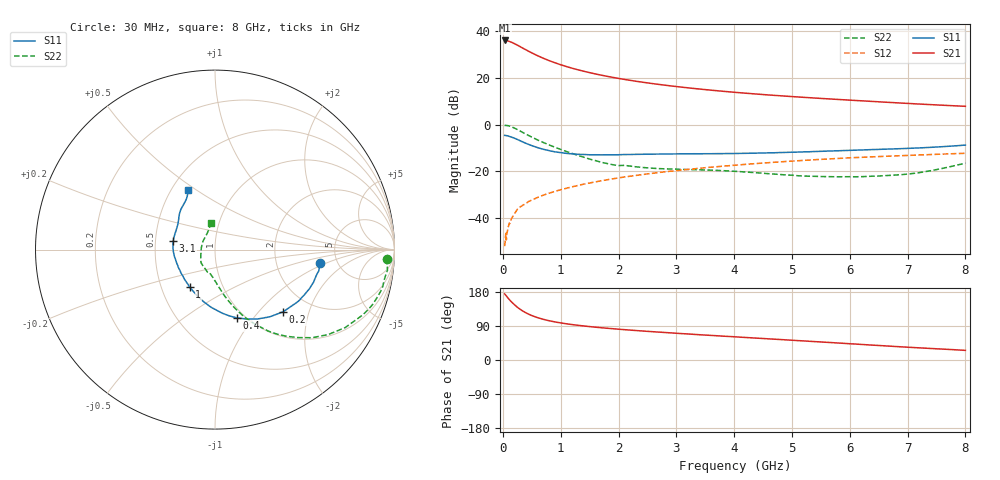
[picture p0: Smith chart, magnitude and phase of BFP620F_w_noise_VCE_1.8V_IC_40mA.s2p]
! Infineon Technologies  Discrete & RF Semiconductors
! BFP620F
! VCE =  1.8 V,  IC =  40 mA
! Common Emitter S-Parameters:  Dec 2014
# GHz  S  MA  R  50
!  f  S11  S21  S12  S22
! GHz  MAG  ANG  MAG  ANG  MAG  ANG  MAG  ANG
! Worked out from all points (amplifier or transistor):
!   95 points, 30 MHz to 8 GHz, reference 50 ohm
!   highest |S21| = 36.1 dB at 30 MHz (marker M1)
!   |S21| within 3 dB of that: start of sweep to 324.1 MHz
!   unconditionally stable (mu >= 1): 2.173 GHz to end of sweep
!   at 300 MHz: K = 0.44, MSG = 34.3 dB, |S12| = -35.2 dB
!   at 3.3 GHz: K = 1.03, MAG = 16.2 dB, |S12| = -18.9 dB
!   at 8 GHz: K = 1.05, MAG = 8.6 dB, |S12| = -12.2 dB
!   lowest NFmin = 1.36 dB at 450 MHz
!   S11 on the Smith chart (normalised r, x): 30 MHz: 3.69, -0.81; 200 MHz: 1.46, -1.37; 400 MHz: 0.92, -0.83; 1 GHz: 0.70, -0.31; 3.1 GHz: 0.62, +0.06; 8 GHz: 0.60, +0.46
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0.03  0.5902 -7.0  63.78 174.6  0.0025 89.0  0.9578 -3.0
0.07  0.5802 -16.0  63.04 167.1  0.0048 74.6  0.9574 -10.5
0.11  0.5626 -24.8  60.85 159.8  0.0078 83.6  0.9368 -17.6
0.15  0.5425 -32.9  58.3 153.3  0.0098 79.5  0.9007 -23.8
0.2  0.5139 -42.4  54.48 145.9  0.0123 74.6  0.8457 -30.9
0.25  0.4829 -50.9  50.68 139.2  0.0154 73.7  0.7884 -36.9
0.3  0.4527 -58.7  46.93 133.6  0.0173 70.5  0.7309 -42.2
0.35  0.4241 -65.8  43.31 128.7  0.019 69.0  0.6761 -46.5
0.4  0.3986 -72.5  40.13 124.3  0.0206 67.9  0.6258 -50.5
0.5  0.3562 -83.6  34.55 117.3  0.0242 66.9  0.5427 -56.8
0.6  0.3227 -93.7  30.07 111.7  0.0277 67.2  0.4719 -61.8
0.7  0.2971 -102.3  26.51 107.3  0.031 66.4  0.4156 -66.0
0.8  0.2784 -110.2  23.59 103.6  0.0341 66.8  0.3685 -69.4
1  0.2525 -123.9  19.26 97.9  0.0404 67.2  0.2958 -75.2
1.4  0.2303 -145.3  13.96 89.8  0.0533 66.4  0.2011 -85.4
2  0.2273 -167.5  9.818 81.3  0.0725 64.7  0.1331 -103.5
2.7  0.2348 175.7  7.292 73.6  0.0946 61.2  0.1147 -122.3
3.1  0.2378 168.2  6.36 69.6  0.1073 59.2  0.1102 -129.8
4.1  0.2427 152.6  4.841 60.3  0.1384 53.2  0.0988 -143.2
5.4  0.2665 139.3  3.724 48.5  0.178 44.5  0.0784 -174.0
6.7  0.3014 126.9  2.997 36.5  0.2125 35.0  0.0821 142.4
8  0.366 114.3  2.477 25.4  0.2441 25.8  0.1498 98.3
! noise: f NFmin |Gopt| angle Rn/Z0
0.45  1.36  0.16  -173  0.16
0.9  1.38  0.16  -172  0.13
1.5  1.39  0.21  -152  0.11
1.8  1.4  0.21  -151  0.11
1.9  1.41  0.21  -150  0.11
2.4  1.43  0.21  214  0.13
3.5  1.49  0.22  220  0.17
5.5  1.63  0.27  247  0.17
6  1.67  0.28  261  0.2
